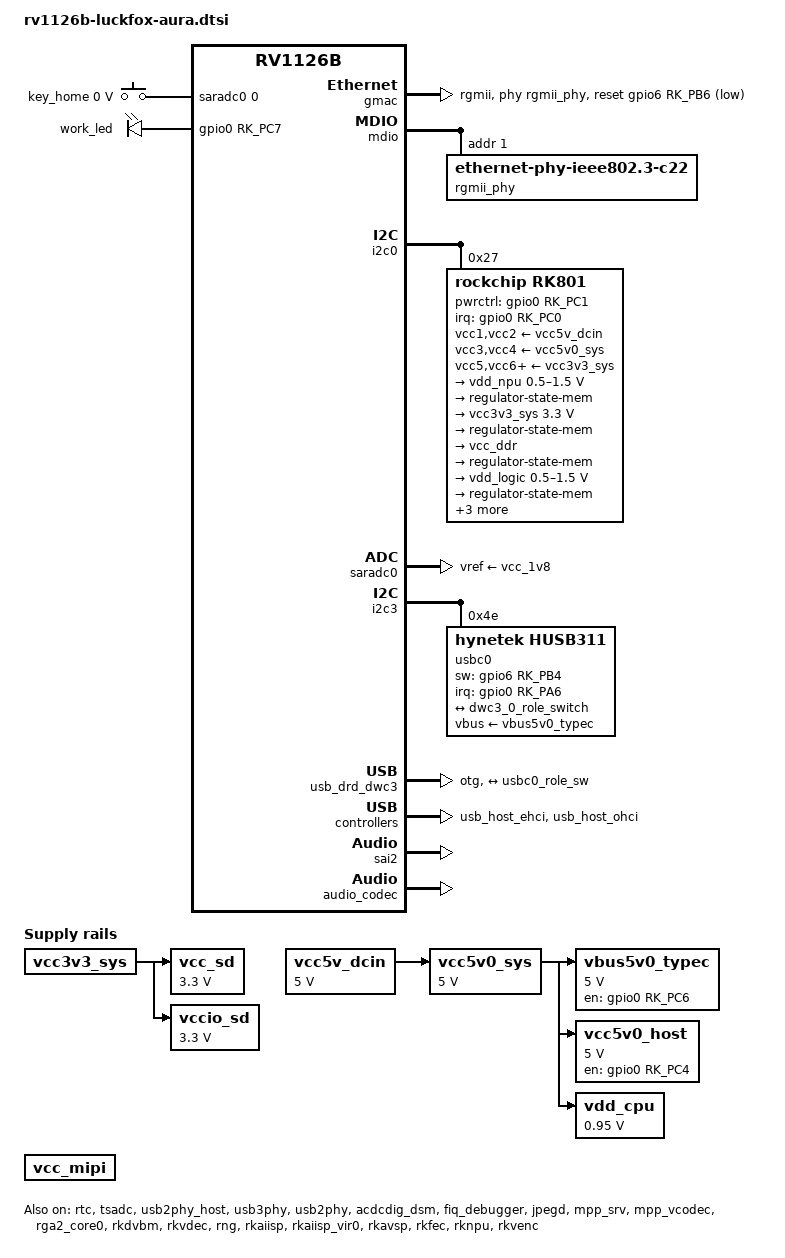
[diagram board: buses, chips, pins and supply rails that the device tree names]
#include <dt-bindings/input/input.h>
#include <dt-bindings/usb/pd.h>

/ {
	acodec_sound: acodec-sound {
		status = "okay";
		compatible = "rockchip,multicodecs-card";
		rockchip,card-name = "rockchip,rv1126b-acodec";
		rockchip,format = "i2s";
		rockchip,mclk-fs-mapping = <256 1024>;
		rockchip,cpu = <&sai2>;
		rockchip,codec = <&audio_codec_pmu>, <&audio_codec>, <&acdcdig_dsm>;
	};

	pdm_codec: dummy-codec {
		status = "disabled";
		compatible = "rockchip,dummy-codec";
		#sound-dai-cells = <0>;
	};

	pdm_mic_array: pdm-mic-array {
		status = "disabled";
		compatible = "simple-audio-card";
		simple-audio-card,name = "rockchip,pdm-mic-array";
		simple-audio-card,cpu {
			sound-dai = <&pdm>;
		};
		simple-audio-card,codec {
			sound-dai = <&pdm_codec>;
		};
	};

	adc-keys {
		compatible = "adc-keys";
		io-channels = <&saradc0 0>;
		io-channel-names = "buttons";
		poll-interval = <100>;
		keyup-threshold-microvolt = <1800000>;

		key_home {
			label = "key_home";
			linux,code = <KEY_HOME>;
			press-threshold-microvolt = <0>;
		};
	};

	vcc5v_dcin: vcc5v-dcin {
		compatible = "regulator-fixed";
		regulator-name = "vcc5v_dcin";
		regulator-always-on;
		regulator-boot-on;
		regulator-min-microvolt = <5000000>;
		regulator-max-microvolt = <5000000>;
	};

	vcc5v0_sys: vcc5v0-sys {
		compatible = "regulator-fixed";
		regulator-name = "vcc5v0_sys";
		regulator-always-on;
		regulator-boot-on;
		regulator-min-microvolt = <5000000>;
		regulator-max-microvolt = <5000000>;
		vin-supply = <&vcc5v_dcin>;
		status = "okay";
	};

	vbus5v0_typec: vbus5v0-typec {
		compatible = "regulator-fixed";
		regulator-name = "vbus5v0_typec";
		regulator-min-microvolt = <5000000>;
		regulator-max-microvolt = <5000000>;
		enable-active-high;
		gpio = <&gpio0 RK_PC6 GPIO_ACTIVE_HIGH>;
		vin-supply = <&vcc5v0_sys>;
		pinctrl-names = "default";
		pinctrl-0 = <&typec5v_pwren>;
	};

	vcc5v0_host: vcc5v0-host {
		compatible = "regulator-fixed";
		regulator-name = "vcc5v0_host";
		regulator-boot-on;
		regulator-always-on;
		regulator-min-microvolt = <5000000>;
		regulator-max-microvolt = <5000000>;
		enable-active-high;
		gpio = <&gpio0 RK_PC4 GPIO_ACTIVE_HIGH>;
		vin-supply = <&vcc5v0_sys>;
		pinctrl-names = "default";
		pinctrl-0 = <&vcc5v0_host_en>;
	};

	vcc_mipi: vcc-mipi {
		compatible = "regulator-fixed";
		regulator-name = "vcc_mipi";
		regulator-always-on;
		regulator-boot-on;
	};

	vcc_sd: vcc-sd {
		compatible = "regulator-fixed";
		regulator-name = "vcc_sd";
		regulator-boot-on;
		regulator-always-on;
		regulator-min-microvolt = <3300000>;
		regulator-max-microvolt = <3300000>;
		vin-supply = <&vcc3v3_sys>;
		status = "okay";
	};

	vccio_sd: vccio-sd {
		compatible = "regulator-fixed";
		regulator-name = "vccio_sd";
		regulator-always-on;
		regulator-boot-on;
		regulator-min-microvolt = <3300000>;
		regulator-max-microvolt = <3300000>;
		vin-supply = <&vcc3v3_sys>;
		status = "okay";
	};

	vdd_cpu: vdd-cpu {
		compatible = "regulator-fixed";
		regulator-name = "vdd_cpu";
		regulator-always-on;
		regulator-boot-on;
		regulator-min-microvolt = <950000>;
		regulator-max-microvolt = <950000>;
		vin-supply = <&vcc5v0_sys>;
		status = "okay";
	};

	leds: leds {
		compatible = "gpio-leds";
		work_led: work-led {
			gpios = <&gpio0 RK_PC7 GPIO_ACTIVE_HIGH>;
			linux,default-trigger = "heartbeat";
		};
	};
};

&rockchip_suspend {
	status = "okay";

	rockchip,sleep-debug-en = <1>;

	rockchip,sleep-mode-config = <
		(0
		| RKPM_SLP_ARMOFF_LOGOFF
		| RKPM_SLP_PMU_PMUALIVE_32K
		| RKPM_SLP_PMU_DIS_OSC
		| RKPM_SLP_32K_EXT
		| RKPM_SLP_LP_AOA
		)
	>;

	rockchip,sleep-pin-config = <
		(0
		| RKPM_SLEEP_PIN0_EN
		| RKPM_SLEEP_PIN2_EN
		)
		(0
		| RKPM_SLEEP_PIN0_ACT_LOW
		)
	>;

	rockchip,sleep-io-config = <
		/* pmic_sleep */
		(0
		| RKPM_IO_CFG_IOMUX_GPIO
		| RKPM_IO_CFG_GPIO_DIR_INPUT
		| RKPM_IO_CFG_PULL_DOWN
		| RKPM_IO_CFG_ID(0)
		)
		/* reset */
		#if 0
		(0
		| RKPM_IO_CFG_IOMUX_GPIO
		| RKPM_IO_CFG_GPIO_DIR_INPUT
		| RKPM_IO_CFG_PULL_NONE
		| RKPM_IO_CFG_ID(1)
		)
		#endif
		(0
		| RKPM_IO_CFG_IOMUX_GPIO
		| RKPM_IO_CFG_GPIO_DIR_INPUT
		| RKPM_IO_CFG_PULL_DOWN
		| RKPM_IO_CFG_ID(2)
		)
		(0
		| RKPM_IO_CFG_PULL_NONE
		| RKPM_IO_CFG_ID(3)
		)
		(0
		| RKPM_IO_CFG_IOMUX_GPIO
		| RKPM_IO_CFG_GPIO_DIR_INPUT
		| RKPM_IO_CFG_PULL_DOWN
		| RKPM_IO_CFG_ID(4)
		)
		(0
		| RKPM_IO_CFG_IOMUX_GPIO
		| RKPM_IO_CFG_GPIO_DIR_INPUT
		| RKPM_IO_CFG_PULL_UP
		| RKPM_IO_CFG_ID(5)
		)
		(0
		| RKPM_IO_CFG_IOMUX_GPIO
		| RKPM_IO_CFG_GPIO_DIR_INPUT
		| RKPM_IO_CFG_PULL_DOWN
		| RKPM_IO_CFG_ID(6)
		)
		(0
		| RKPM_IO_CFG_IOMUX_GPIO
		| RKPM_IO_CFG_GPIO_DIR_INPUT
		| RKPM_IO_CFG_PULL_UP
		| RKPM_IO_CFG_ID(7)
		)
		(0
		| RKPM_IO_CFG_IOMUX_GPIO
		| RKPM_IO_CFG_GPIO_DIR_INPUT
		| RKPM_IO_CFG_PULL_DOWN
		| RKPM_IO_CFG_ID(8)
		)
		(0
		| RKPM_IO_CFG_IOMUX_GPIO
		| RKPM_IO_CFG_GPIO_DIR_INPUT
		| RKPM_IO_CFG_PULL_DOWN
		| RKPM_IO_CFG_ID(9)
		)
		(0
		| RKPM_IO_CFG_IOMUX_GPIO
		| RKPM_IO_CFG_GPIO_DIR_INPUT
		| RKPM_IO_CFG_PULL_DOWN
		| RKPM_IO_CFG_ID(10)
		)
		(0
		| RKPM_IO_CFG_IOMUX_GPIO
		| RKPM_IO_CFG_GPIO_DIR_INPUT
		| RKPM_IO_CFG_PULL_DOWN
		| RKPM_IO_CFG_ID(11)
		)
		(0
		| RKPM_IO_CFG_IOMUX_GPIO
		| RKPM_IO_CFG_GPIO_DIR_INPUT
		| RKPM_IO_CFG_PULL_DOWN
		| RKPM_IO_CFG_ID(12)
		)
		(0
		| RKPM_IO_CFG_IOMUX_GPIO
		| RKPM_IO_CFG_GPIO_DIR_INPUT
		| RKPM_IO_CFG_PULL_DOWN
		| RKPM_IO_CFG_ID(20)
		)
		(0
		| RKPM_IO_CFG_IOMUX_GPIO
		| RKPM_IO_CFG_GPIO_DIR_INPUT
		| RKPM_IO_CFG_PULL_DOWN
		| RKPM_IO_CFG_ID(21)
		)
		(0
		| RKPM_IO_CFG_IOMUX_GPIO
		| RKPM_IO_CFG_GPIO_DIR_INPUT
		| RKPM_IO_CFG_PULL_DOWN
		| RKPM_IO_CFG_ID(22)
		)
		(0
		| RKPM_IO_CFG_IOMUX_GPIO
		| RKPM_IO_CFG_GPIO_DIR_INPUT
		| RKPM_IO_CFG_PULL_DOWN
		| RKPM_IO_CFG_ID(23)
		)
		(0
		| RKPM_IO_CFG_IOMUX_GPIO
		| RKPM_IO_CFG_GPIO_DIR_INPUT
		| RKPM_IO_CFG_PULL_DOWN
		| RKPM_IO_CFG_ID(24)
		)
		(0
		| RKPM_IO_CFG_IOMUX_GPIO
		| RKPM_IO_CFG_GPIO_DIR_INPUT
		| RKPM_IO_CFG_PULL_DOWN
		| RKPM_IO_CFG_ID(25)
		)
	>;

	rockchip,wakeup-config = <
		(0
		| RKPM_GPIO0_WKUP_EN
		| RKPM_AAD_WKUP_EN
		)
	>;
};

&rtc {
	rockchip,rtc-suspend-bypass;
	status = "okay";
};

&cpu0 {
	cpu-supply = <&vdd_cpu>;
	/delete-property/ operating-points-v2;
};

/**********ETHER**********/
&gmac {
	phy-mode = "rgmii";
	clock_in_out = "output";

	snps,reset-gpio = <&gpio6 RK_PB6 GPIO_ACTIVE_LOW>;
	snps,reset-active-low;
	/* Reset time is 20ms, 100ms for rtl8211f */
	snps,reset-delays-us = <0 20000 100000>;

	assigned-clocks = <&cru CLK_MAC_OUT2IO>;
	assigned-clock-rates = <25000000>;

	pinctrl-names = "default";
	pinctrl-0 = <&ethm0_miim_pins
		&ethm0_tx_bus2_pins
		&ethm0_rx_bus2_pins
		&ethm0_rgmii_clk_pins
		&ethm0_rgmii_bus_pins
		&eth_clk_25mm0_out_pins>;

	tx_delay = <0x20>;
	// rx_delay = <0x2c>;

	phy-handle = <&rgmii_phy>;
	status = "okay";
};

&mdio {
	rgmii_phy: phy@1 {
		compatible = "ethernet-phy-ieee802.3-c22";
		reg = <0x1>;
		clocks = <&cru CLK_MAC_OUT2IO>;
	};
};

/**********PMIC**********/
&i2c0 {
	status = "okay";

	rk801: rk801@27 {
		compatible = "rockchip,rk801";
		status = "okay";
		reg = <0x27>;
		interrupt-parent = <&gpio0>;
		interrupts = <RK_PC0 IRQ_TYPE_LEVEL_LOW>;
		pwrctrl-gpios = <&gpio0 RK_PC1 GPIO_ACTIVE_HIGH>;

		pinctrl-names = "default", "pmic-reset";
		pinctrl-0 = <&pmic_int>;
		pinctrl-1 = <&soc_pwrctrl_reset>;
		rockchip,system-power-controller;
		wakeup-source;

		vcc1-supply = <&vcc5v_dcin>;
		vcc2-supply = <&vcc5v_dcin>;
		vcc3-supply = <&vcc5v0_sys>;
		vcc4-supply = <&vcc5v0_sys>;
		vcc5-supply = <&vcc3v3_sys>;
		vcc6-supply = <&vcc3v3_sys>;
		vcc7-supply = <&vcc3v3_sys>;

		regulators {
			vdd_npu: DCDC_REG1 {
				regulator-name = "vdd_npu";
				regulator-min-microvolt = <500000>;
				regulator-max-microvolt = <1500000>;
				regulator-initial-mode = <0x1>;
				regulator-boot-on;
				regulator-always-on;
				regulator-state-mem {
					regulator-mode = <0x2>;
					regulator-off-in-suspend;
					regulator-suspend-microvolt = <950000>;
				};
			};

			vcc3v3_sys: DCDC_REG2 {
				regulator-name = "vcc3v3_sys";
				regulator-min-microvolt = <3300000>;
				regulator-max-microvolt = <3300000>;
				regulator-initial-mode = <0x1>;
				regulator-boot-on;
				regulator-always-on;
				regulator-state-mem {
					regulator-mode = <0x2>;
					regulator-on-in-suspend;
					regulator-suspend-microvolt = <3300000>;
				};
			};

			vcc_ddr: DCDC_REG3 {
				regulator-name = "vcc_ddr";
				regulator-boot-on;
				regulator-always-on;
				regulator-state-mem {
					regulator-mode = <0x2>;
					regulator-on-in-suspend;
				};
			};

			vdd_logic: DCDC_REG4 {
				regulator-name = "vdd_logic";
				regulator-min-microvolt = <500000>;
				regulator-max-microvolt = <1500000>;
				regulator-initial-mode = <0x1>;
				regulator-boot-on;
				regulator-always-on;
				regulator-state-mem {
					regulator-mode = <0x2>;
					regulator-off-in-suspend;
					regulator-suspend-microvolt = <900000>;
				};
			};

			vdd0v9_sys: LDO_REG1 {
				regulator-name = "vdd0v9_sys";
				regulator-min-microvolt = <3300000>;
				regulator-max-microvolt = <3300000>;
				regulator-boot-on;
				regulator-always-on;
				regulator-state-mem {
					regulator-off-in-suspend;
					regulator-suspend-microvolt = <3300000>;
				};
			};

			vcc_1v8: LDO_REG2 {
				regulator-name = "vcc_1v8";
				regulator-min-microvolt = <1800000>;
				regulator-max-microvolt = <3300000>;
				regulator-boot-on;
				regulator-always-on;
				regulator-state-mem {
					regulator-off-in-suspend;
					regulator-suspend-microvolt = <1800000>;
				};
			};

			vcc_3v3: SWITCH_REG {
				regulator-name = "vcc_3v3";
				regulator-boot-on;
				regulator-always-on;
				regulator-state-mem {
					regulator-off-in-suspend;
					regulator-suspend-microvolt = <3300000>;
				};
			};
		};
	};
};

/**********ADC**********/
&saradc0 {
	vref-supply = <&vcc_1v8>;
	status = "okay";
};

&tsadc {
	status = "okay";
};

/**********USB**********/
&usb2phy_host {
	status = "okay";
	phy-supply = <&vcc5v0_host>;
};

&usb2phy_otg {
	vbus-supply = <&vbus5v0_typec>;
};

&i2c3 {
	status = "okay";
	pinctrl-names = "default";
	pinctrl-0 = <&i2c3m1_pins>;

	usbc0: husb311@4e {
		compatible = "hynetek,husb311";
		reg = <0x4e>;
		interrupt-parent = <&gpio0>;
		interrupts = <RK_PA6 IRQ_TYPE_LEVEL_LOW>;
		pinctrl-names = "default";
		pinctrl-0 = <&usbc0_int>;
		status = "okay";
		vbus-supply = <&vbus5v0_typec>;
		sw-gpios = <&gpio6 RK_PB4 GPIO_ACTIVE_HIGH>;

		ports {
			#address-cells = <1>;
			#size-cells = <0>;

			port@0 {
				reg = <0>;
				usbc0_role_sw: endpoint {
					remote-endpoint = <&dwc3_0_role_switch>;
				};
			};
		};

	usb_con: connector {
		compatible = "usb-c-connector";
		label = "USB-C";
		data-role = "dual";
		power-role = "dual";
		try-power-role = "sink";
		op-sink-microwatt = <1000000>;
		sink-pdos =
			<PDO_FIXED(5000, 500, PDO_FIXED_USB_COMM)>;
		source-pdos =
			<PDO_FIXED(5000, 500, PDO_FIXED_USB_COMM)>;
		};
	};
};

&pinctrl {
    usb_drd_dwc3 {
		usbc0_int: usbc0-int {
			rockchip,pins = <0 RK_PA6 RK_FUNC_GPIO &pcfg_pull_up>;
		};
	};
};

&usb_drd_dwc3 {
	status = "okay";
	dr_mode = "otg";
	extcon = <&usb2phy>;
	usb-role-switch;
	port {
		#address-cells = <1>;
		#size-cells = <0>;
		dwc3_0_role_switch: endpoint@0 {
			reg = <0>;
			remote-endpoint = <&usbc0_role_sw>;
		};
	};
};

&usb3phy {
	status = "okay";
};

&usb2phy {
	status = "okay";
};

&usb_host_ehci {
	status = "okay";
};

&usb_host_ohci {
	status = "okay";
};

/**********Audio**********/
&sai2 {
	status = "okay";
	rockchip,sai-rx-route = <0 1 2 3>;
	/delete-property/ pinctrl-names;
	/delete-property/ pinctrl-0;
};

&acdcdig_dsm {
	status = "okay";
	pa-ctl-gpios = <&gpio5 RK_PC0 GPIO_ACTIVE_HIGH>;
};

&audio_codec {
	status = "okay";
};

&audio_codec_pmu {
	status = "okay";
};

/**********Other**********/

&fiq_debugger {
	status = "okay";
};

&jpegd {
	status = "okay";
};

&jpeg_mmu {
	status = "okay";
};

&mpp_srv {
	status = "okay";
};

&mpp_vcodec {
	status = "okay";
};

&rga2_core0 {
	status = "okay";
};

&rga2_core0_mmu {
	status = "okay";
};

&rkdvbm {
	status = "okay";
};

&rknpu_mmu {
	status = "okay";
};

&rkvdec {
	status = "okay";
};

&rkvdec_mmu {
	status = "okay";
};

&rkvenc_mmu {
	status = "okay";
};

&rng {
	status = "okay";
};

&rkaiisp {
	status = "okay";
};

&rkaiisp_mmu {
	status = "okay";
};

&rkaiisp_vir0 {
	status = "okay";
};

&rkavsp {
	status = "okay";
};

&rkavsp_mmu {
	status = "okay";
};

&rkfec {
	status = "okay";
};

&rkfec_mmu {
	status = "okay";
};

&rknpu {
	status = "okay";
	rknpu-supply = <&vdd_npu>;
};

&rkvenc {
	status = "okay";
	venc-supply = <&vdd_logic>;
};

/**********PINCTRL**********/
&pinctrl {
	pmic {
		pmic_int: pmic-int {
			rockchip,pins = <0 RK_PC0 RK_FUNC_GPIO &pcfg_pull_up>;
		};

		soc_pwrctrl_reset: soc-pwrctrl-reset {
			rockchip,pins = <0 RK_PC1 RK_FUNC_GPIO &pcfg_output_high>;
		};
	};

	usb {
		typec5v_pwren: typec5v-pwren {
			rockchip,pins = <0 RK_PC6 RK_FUNC_GPIO &pcfg_pull_none>;
		};

		vcc5v0_host_en: vcc5v0-host-en {
			rockchip,pins = <0 RK_PC4 RK_FUNC_GPIO &pcfg_pull_none>;
		};
	};
};
